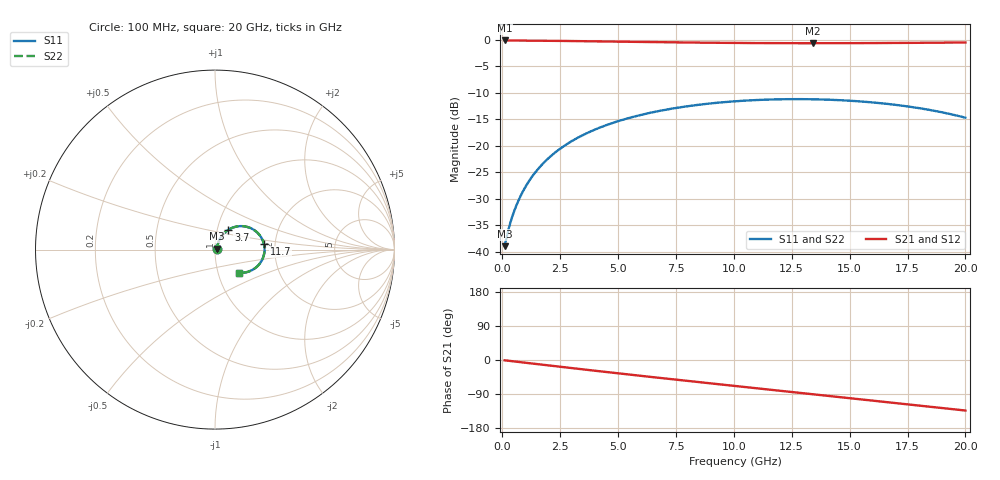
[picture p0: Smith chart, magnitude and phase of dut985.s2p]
! Touchstone file exported from HFSS 2026.1.0
!  File:  C:/ffzhzh/LocalFiles/Ansys_Project_Files/temp_train_TSV_RDL_985_1783287701_38704.aedt
!  Generated:  05:56:12 AM Jul  6, 2026
!  Design:  TSV_RDL
!  Project:  temp_train_TSV_RDL_985_1783287701_38704
! Variables:
!  h_bsmrdl = 4.36um
!  h_ox = 20um
!  h_rdl = 5um
!  h_sub = 88um
!  h_tmrdl = 3.49um
!  h_tsv = 88um
!  h_via = 3um
!  l_bsmrdl = 178.55um
!  l_sub = 2032.3um
!  l_tmrdl = 231.99um
!  m_sub = 200um
!  pitch = 37.72um
!  r_tsv = 4.13um
!  s_tmrdl = 10um
!  w_bsmrdl = 29.81um
!  w_sub = 500um
!  w_tmrdl = 26.42um
!  x_tsv_center1 = 245.2um
!  x_tsv_center2 = 453.56um
!  x_tsv_center3 = 711.97um
!  x_tsv_center4 = 920.33um
!  x_tsv_center5 = 1178.74um
!  x_tsv_center6 = 1387.1um
# GHz S MA R 50.000000
! Terminal data exported
! Port[1] = TM_RDL1_1_T1
! Port[2] = TM_RDL5_1_T1
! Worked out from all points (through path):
!   200 points, 100 MHz to 20 GHz, reference 50 ohm
!   highest |S21| = -0.09 dB at 100 MHz (marker M1); lowest = -0.6 dB at 13.4 GHz (marker M2)
!   group delay of S21, straight-line fit = 18.3 ps
!   lowest |S11| = -39.0 dB at 100 MHz (marker M3), VSWR 1.02, Z = 51 + j0.466 ohm
!   |S11| at or under -10 dB: start of sweep to end of sweep
!   |S22| runs from -39.0 to -11.2 dB; largest |S21 - S12| = 4.8e-14
!   S11 on the Smith chart (normalised r, x): 100 MHz: 1.02, +0.01; 3.7 GHz: 1.13, +0.25; 11.7 GHz: 1.74, +0.12; 20 GHz: 1.25, -0.33
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0.1  0.01126 23.9  0.9898 -0.8  0.9898 -0.8  0.01126 23.9
! Gamma 0 0 0 0
! Port Impedance 50 0 50 0
0.3  0.01724 46.3  0.9885 -2.2  0.9885 -2.2  0.01724 46.3
0.4  0.02045 51.6  0.988 -3.0  0.988 -3.0  0.02045 51.6
0.6  0.02705 58.3  0.9873 -4.4  0.9873 -4.4  0.02705 58.3
0.9  0.0374 63.3  0.9865 -6.5  0.9865 -6.5  0.0374 63.3
1.3  0.05162 65.5  0.9853 -9.4  0.9853 -9.4  0.05162 65.5
1.7  0.06592 65.5  0.9838 -12.2  0.9838 -12.2  0.06592 65.5
2.2  0.08356 64.0  0.9816 -15.8  0.9816 -15.8  0.08356 64.0
2.8  0.1041 61.2  0.9785 -20.0  0.9785 -20.0  0.1041 61.2
3.5  0.1269 57.3  0.9744 -24.9  0.9744 -24.9  0.1269 57.3
3.7  0.1332 56.1  0.9731 -26.2  0.9731 -26.2  0.1332 56.1
4.4  0.1541 51.8  0.9686 -31.1  0.9686 -31.1  0.1541 51.8
5.1  0.1735 47.5  0.9641 -35.8  0.9641 -35.8  0.1735 47.5
6.8  0.214 36.8  0.9533 -47.2  0.9533 -47.2  0.214 36.8
8.4  0.243 26.9  0.9445 -57.8  0.9445 -57.8  0.243 26.9
10.1  0.264 16.4  0.9374 -68.8  0.9374 -68.8  0.2639 16.4
11.7  0.2743 6.5  0.9333 -79.1  0.9333 -79.1  0.2743 6.5
13.4  0.2753 -3.9  0.9318 -90.1  0.9318 -90.1  0.2753 -3.9
15.1  0.266 -14.3  0.9332 -101.0  0.9332 -101.0  0.266 -14.3
16.7  0.248 -24.1  0.9365 -111.5  0.9365 -111.5  0.2479 -24.1
18.3  0.2213 -34.0  0.9413 -122.0  0.9413 -122.0  0.2213 -34.0
20  0.1843 -44.4  0.9469 -133.4  0.9469 -133.4  0.1843 -44.4
